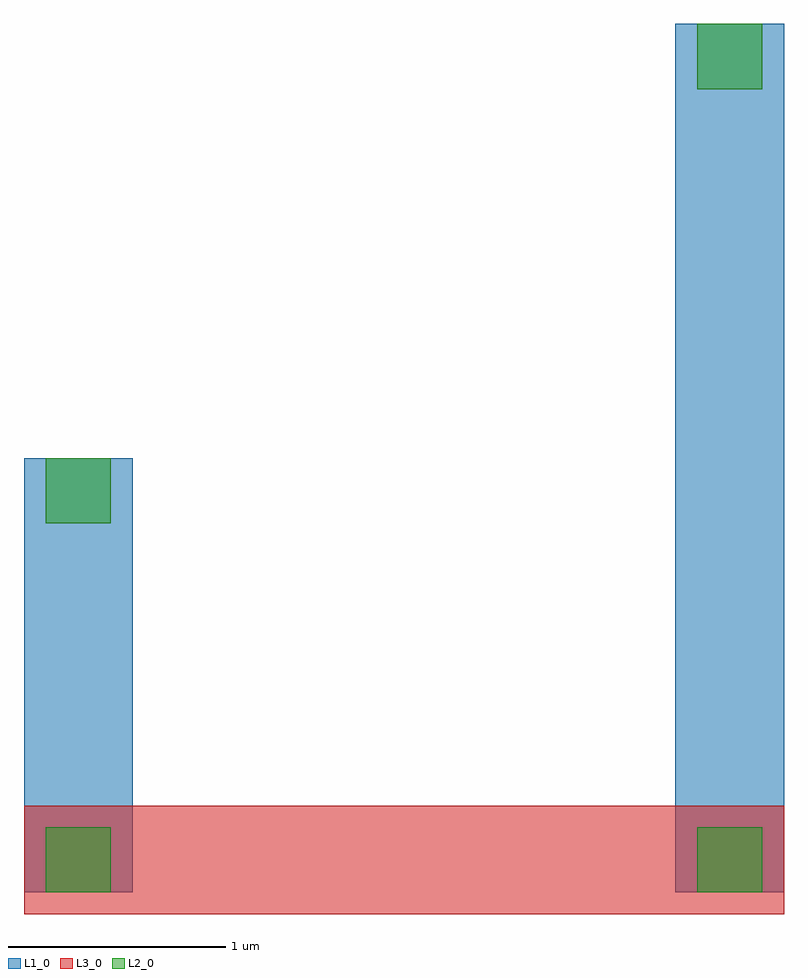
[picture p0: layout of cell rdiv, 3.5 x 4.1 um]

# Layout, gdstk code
from math import pi, radians
import gdstk
lib = gdstk.Library(unit=1e-6, precision=1e-09)
def R(c, l, rs):  # rectangles x0, y0, x1, y1
    for r in rs: c.add(gdstk.rectangle(r[:2], r[2:], *l))
L1_0 = (1, 0)
L2_0 = (2, 0)
L3_0 = (3, 0)

rpoly = lib.new_cell('rpoly')
R(rpoly, L1_0, [(0,0,2,0.5)])
R(rpoly, L2_0, [(0,0.1,0.3,0.4), (1.7,0.1,2,0.4)])

rpoly_1 = lib.new_cell('rpoly$1')
R(rpoly_1, L1_0, [(0,0,4,0.5)])
R(rpoly_1, L2_0, [(0,0.1,0.3,0.4), (3.7,0.1,4,0.4)])

rdiv = lib.new_cell('rdiv')
R(rdiv, L3_0, [(0,-0.1,3.5,0.4)])
rdiv.add(gdstk.Reference(rpoly, (0.5,0), rotation=pi/2))
rdiv.add(gdstk.Reference(rpoly_1, (3.5,0), rotation=pi/2))

lib.write_gds('rdiv.gds')
